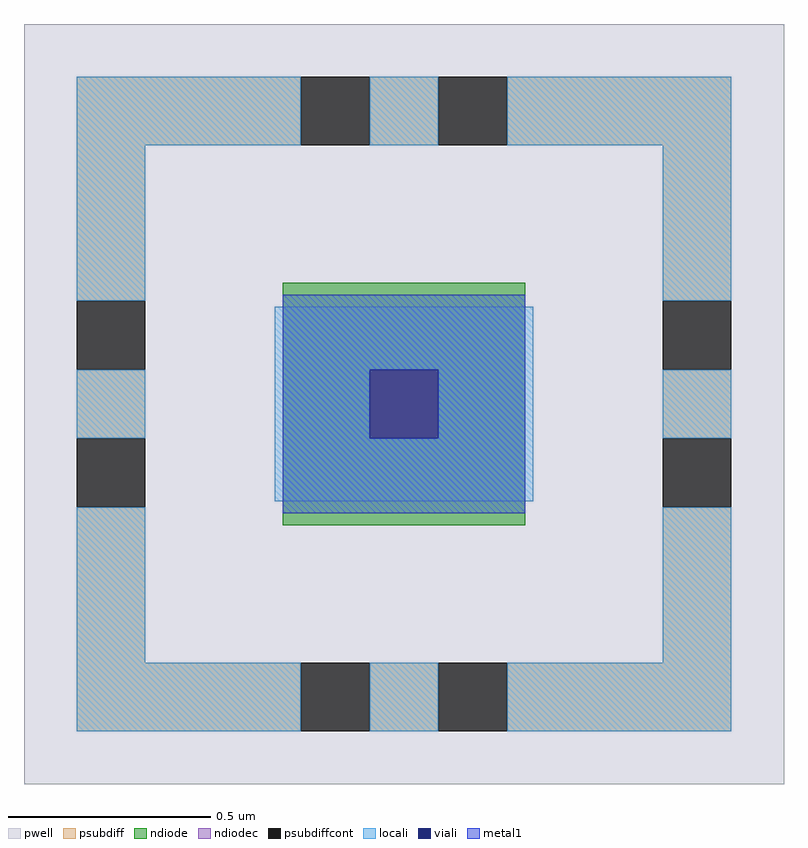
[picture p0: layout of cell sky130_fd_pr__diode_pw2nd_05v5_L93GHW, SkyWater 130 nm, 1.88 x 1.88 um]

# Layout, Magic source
magic
tech sky130A
magscale 1 2
<< pwell >>
rect -188 -188 188 188
<< psubdiff >>
rect -162 128 -51 162
rect -17 128 17 162
rect 51 128 162 162
rect -162 51 -128 128
rect -162 -17 -128 17
rect -162 -128 -128 -51
rect 128 51 162 128
rect 128 -17 162 17
rect 128 -128 162 -51
rect -162 -162 -51 -128
rect -17 -162 17 -128
rect 51 -162 162 -128
<< psubdiffcont >>
rect -51 128 -17 162
rect 17 128 51 162
rect -162 17 -128 51
rect -162 -51 -128 -17
rect 128 17 162 51
rect 128 -51 162 -17
rect -51 -162 -17 -128
rect 17 -162 51 -128
<< ndiode >>
rect -60 17 60 60
rect -60 -17 -17 17
rect 17 -17 60 17
rect -60 -60 60 -17
<< ndiodec >>
rect -17 -17 17 17
<< locali >>
rect -162 128 -51 162
rect -17 128 17 162
rect 51 128 162 162
rect -162 51 -128 128
rect 128 51 162 128
rect -162 -17 -128 17
rect -64 17 64 48
rect -64 -17 -17 17
rect 17 -17 64 17
rect -64 -48 64 -17
rect 128 -17 162 17
rect -162 -128 -128 -51
rect 128 -128 162 -51
rect -162 -162 -51 -128
rect -17 -162 17 -128
rect 51 -162 162 -128
<< viali >>
rect -17 -17 17 17
<< metal1 >>
rect -60 17 60 54
rect -60 -17 -17 17
rect 17 -17 60 17
rect -60 -54 60 -17
<< properties >>
string FIXED_BBOX -144 -144 144 144
<< end >>
